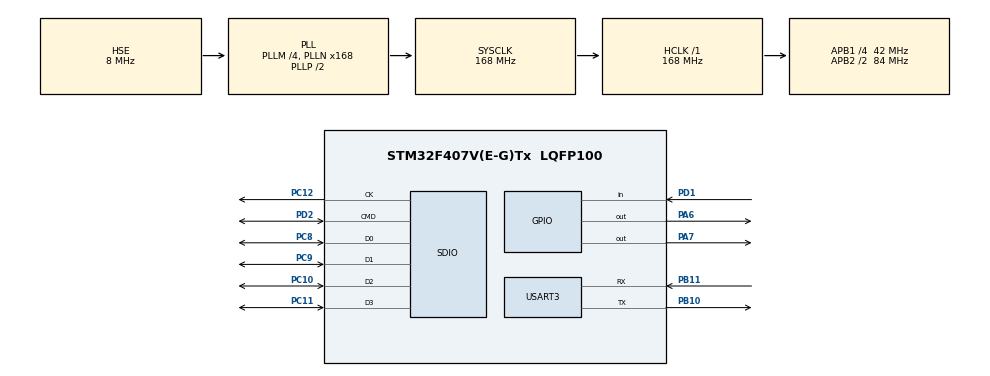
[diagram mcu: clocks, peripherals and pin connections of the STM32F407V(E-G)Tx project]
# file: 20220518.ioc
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Dma.Request0=SDIO_RX
Dma.Request1=SDIO_TX
Dma.SDIO_RX.0.Direction=DMA_PERIPH_TO_MEMORY
Dma.SDIO_RX.0.FIFOMode=DMA_FIFOMODE_ENABLE
Dma.SDIO_RX.0.FIFOThreshold=DMA_FIFO_THRESHOLD_FULL
Dma.SDIO_RX.0.Instance=DMA2_Stream3
Dma.SDIO_RX.0.MemBurst=DMA_MBURST_INC4
Dma.SDIO_RX.0.MemDataAlignment=DMA_MDATAALIGN_WORD
Dma.SDIO_RX.0.MemInc=DMA_MINC_ENABLE
Dma.SDIO_RX.0.Mode=DMA_PFCTRL
Dma.SDIO_RX.0.PeriphBurst=DMA_PBURST_INC4
Dma.SDIO_RX.0.PeriphDataAlignment=DMA_PDATAALIGN_WORD
Dma.SDIO_RX.0.PeriphInc=DMA_PINC_DISABLE
Dma.SDIO_RX.0.Priority=DMA_PRIORITY_LOW
Dma.SDIO_TX.1.Direction=DMA_MEMORY_TO_PERIPH
Dma.SDIO_TX.1.FIFOMode=DMA_FIFOMODE_ENABLE
Dma.SDIO_TX.1.FIFOThreshold=DMA_FIFO_THRESHOLD_FULL
Dma.SDIO_TX.1.Instance=DMA2_Stream6
Dma.SDIO_TX.1.MemBurst=DMA_MBURST_INC4
Dma.SDIO_TX.1.MemDataAlignment=DMA_MDATAALIGN_WORD
Dma.SDIO_TX.1.MemInc=DMA_MINC_ENABLE
Dma.SDIO_TX.1.Mode=DMA_PFCTRL
Dma.SDIO_TX.1.PeriphBurst=DMA_PBURST_INC4
Dma.SDIO_TX.1.PeriphDataAlignment=DMA_PDATAALIGN_WORD
Dma.SDIO_TX.1.PeriphInc=DMA_PINC_DISABLE
Dma.SDIO_TX.1.Priority=DMA_PRIORITY_LOW
FATFS.BSP.number=1
FATFS._LFN_UNICODE=0
FATFS._MAX_SS=4096
FATFS._USE_LFN=2
FATFS0.BSP.STBoard=false
FATFS0.BSP.api=Unknown
FATFS0.BSP.i2caddr=0
FATFS0.BSP.instance=PD1
FATFS0.BSP.ip=GPIO
FATFS0.BSP.mode=Input
FATFS0.BSP.name=Detect_SDIO
FATFS0.BSP.solution=PD1
FREERTOS.Tasks01=defaultTask,24,128,StartDefaultTask,Default,NULL,Dynamic,NULL,NULL
FREERTOS.configLIBRARY_MAX_SYSCALL_INTERRUPT_PRIORITY=2
FREERTOS.configUSE_NEWLIB_REENTRANT=1
Mcu.Family=STM32F4
Mcu.Name=STM32F407V(E-G)Tx
Mcu.Package=LQFP100
NVIC.DMA2_Stream3_IRQn=true\:7\:0\:true\:false\:true\:true\:false\:true\:true
NVIC.DMA2_Stream6_IRQn=true\:7\:0\:true\:false\:true\:true\:false\:true\:true
NVIC.PriorityGroup=NVIC_PRIORITYGROUP_4
NVIC.SDIO_IRQn=true\:2\:0\:false\:false\:true\:true\:true\:true\:true
NVIC.TIM6_DAC_IRQn=true\:15\:0\:false\:false\:true\:false\:false\:true\:true
NVIC.TimeBase=TIM6_DAC_IRQn
NVIC.TimeBaseIP=TIM6
PA13.Mode=Serial_Wire
PA13.Signal=SYS_JTMS-SWDIO
PA14.Mode=Serial_Wire
PA14.Signal=SYS_JTCK-SWCLK
PA6.Signal=GPIO_Output
PA7.Signal=GPIO_Output
PB10.Mode=Asynchronous
PB10.Signal=USART3_TX
PB11.Mode=Asynchronous
PB11.Signal=USART3_RX
PC10.Mode=SD_4_bits_Wide_bus
PC10.Signal=SDIO_D2
PC11.Mode=SD_4_bits_Wide_bus
PC11.Signal=SDIO_D3
PC12.Mode=SD_4_bits_Wide_bus
PC12.Signal=SDIO_CK
PC8.Mode=SD_4_bits_Wide_bus
PC8.Signal=SDIO_D0
PC9.Mode=SD_4_bits_Wide_bus
PC9.Signal=SDIO_D1
PD1.Signal=GPIO_Input
PD2.Mode=SD_4_bits_Wide_bus
PD2.Signal=SDIO_CMD
PH0-OSC_IN.Mode=HSE-External-Oscillator
PH0-OSC_IN.Signal=RCC_OSC_IN
PH1-OSC_OUT.Mode=HSE-External-Oscillator
PH1-OSC_OUT.Signal=RCC_OSC_OUT
ProjectManager.HeapSize=0x200
ProjectManager.StackSize=0x1000
ProjectManager.TargetToolchain=STM32CubeIDE
RCC.48MHZClocksFreq_Value=48000000
RCC.AHBFreq_Value=168000000
RCC.APB1CLKDivider=RCC_HCLK_DIV4
RCC.APB1Freq_Value=42000000
RCC.APB1TimFreq_Value=84000000
RCC.APB2CLKDivider=RCC_HCLK_DIV2
RCC.APB2Freq_Value=84000000
RCC.APB2TimFreq_Value=168000000
RCC.CortexFreq_Value=168000000
RCC.HCLKFreq_Value=168000000
RCC.HSE_VALUE=8000000
RCC.HSI_VALUE=16000000
RCC.LSE_VALUE=32768
RCC.PLLM=4
RCC.PLLN=168
RCC.PLLQ=7
RCC.PLLSourceVirtual=RCC_PLLSOURCE_HSE
RCC.SYSCLKFreq_VALUE=168000000
RCC.SYSCLKSource=RCC_SYSCLKSOURCE_PLLCLK
RCC.VCOOutputFreq_Value=336000000
SDIO.ClockDiv=2
USART3.VirtualMode=VM_ASYNC
VP_FATFS_VS_SDIO.Mode=SDIO
VP_FREERTOS_VS_CMSIS_V2.Mode=CMSIS_V2
VP_SYS_VS_tim6.Mode=TIM6
board=custom

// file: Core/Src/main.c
/* USER CODE BEGIN Header */
/**
  ******************************************************************************
  * @file           : main.c
  * @brief          : Main program body
  ******************************************************************************
  * @attention
  *
  * Copyright (c) 2022 STMicroelectronics.
  * All rights reserved.
  *
  * This software is licensed under terms that can be found in the LICENSE file
  * in the root directory of this software component.
  * If no LICENSE file comes with this software, it is provided AS-IS.
  *
  ******************************************************************************
  */
/* USER CODE END Header */
#include "main.h"
#include "cmsis_os.h"
#include "fatfs.h"

 SD_HandleTypeDef hsd;
DMA_HandleTypeDef hdma_sdio_rx;
DMA_HandleTypeDef hdma_sdio_tx;

UART_HandleTypeDef huart3;

/* Definitions for defaultTask */
osThreadId_t defaultTaskHandle;
const osThreadAttr_t defaultTask_attributes = {
  .name = "defaultTask",
  .stack_size = 128 * 16,
  .priority = (osPriority_t) osPriorityNormal,
};
/* USER CODE BEGIN PV */
/* Private variables ---------------------------------------------------------*/
#include "stdio.h"
#include "retarget.h"
FATFS fs;                 // Work area (file system object) for logical drive
FIL fil;                  // file objects

uint32_t byteswritten;                /* File write counts */
uint32_t bytesread;                   /* File read counts */
uint8_t wtext[] = "This is STM32 working with FatFs\r\n\0"; /* File write buffer */
uint8_t rtext[100];                     /* File read buffers */
char filename[] = "STM32cube.txt";
/* USER CODE END PV */

void SystemClock_Config(void);
static void MX_GPIO_Init(void);
static void MX_DMA_Init(void);
static void MX_SDIO_SD_Init(void);
static void MX_USART3_UART_Init(void);
void StartDefaultTask(void *argument);

/* USER CODE BEGIN 0 */
HAL_SD_CardInfoTypeDef  SDCardInfo;
extern SD_HandleTypeDef hsd;

FATFS fs; // working space
FIL fil; //  Documentation items
void printf_sdcard_info(void)
{

	uint64_t CardCap;      	//SD Card capacity
	HAL_SD_CardCIDTypeDef SDCard_CID;

	HAL_SD_GetCardCID(&hsd,&SDCard_CID);	// obtain CID
	HAL_SD_GetCardInfo(&hsd,&SDCardInfo);                    // obtain SD Card information
	CardCap=(uint64_t)(SDCardInfo.LogBlockNbr)*(uint64_t)(SDCardInfo.LogBlockSize);	// Calculation SD Card capacity
	switch(SDCardInfo.CardType)
	{

		case CARD_SDSC:
		{

			if(SDCardInfo.CardVersion == CARD_V1_X)
				printf("Card Type:SDSC V1\r\n");
			else if(SDCardInfo.CardVersion == CARD_V2_X)
				printf("Card Type:SDSC V2\r\n");
		}
		break;
		case CARD_SDHC_SDXC:printf("Card Type:SDHC\r\n");break;
		default:break;
	}

    printf("Card ManufacturerID: %d \r\n",SDCard_CID.ManufacturerID);				// Manufacturer ID
 	printf("CardVersion: %ld \r\n",(uint32_t)(SDCardInfo.CardVersion));		// Card version number
	printf("Class: %ld \r\n",(uint32_t)(SDCardInfo.Class));		    //
 	printf("Card RCA(RelCardAdd):%ld \r\n",SDCardInfo.RelCardAdd);					// Card relative address
	printf("Card BlockNbr: %ld \r\n",SDCardInfo.BlockNbr);						// Number of pieces
 	printf("Card BlockSize: %ld \r\n",SDCardInfo.BlockSize);					// Block size
	printf("LogBlockNbr: %ld \r\n",(uint32_t)(SDCardInfo.LogBlockNbr));		// Number of logical blocks
	printf("LogBlockSize: %ld \r\n",(uint32_t)(SDCardInfo.LogBlockSize));		// Logical block size
	printf("Card Capacity: %ld MB\r\n",(uint32_t)(CardCap>>20));				// Card capacity
}

void InitFatFas(void)
{

    int retSD = f_mount(&fs, "", 0);
    if(retSD)
    {

        printf("mount error : %d \r\n",retSD);
      // Error_Handler();
    }
    else
    printf("mount sucess!!! \r\n");
}

void creat_file(char * filename)
{

    int retSD = f_open(&fil, filename, FA_CREATE_ALWAYS | FA_WRITE); // Open file , Permissions include creating 、 Write （ If there is no such document , The file will be created ）
    if(retSD==FR_OK) printf("\r\ncreater file sucess!!! \r\n");
    else printf("\r\ncreater file error : %d\r\n",retSD);
   // f_close(&fil); // Close the file
    //HAL_Delay(100);
}
void write_file(char * data,uint32_t len)
{

    uint32_t byteswritten;
    /*##-3- Write data to the text files ###############################*/
    int retSD = f_write(&fil, data, len, (void *)&byteswritten);
    if(retSD)
        printf(" write file error : %d\r\n",retSD);
    else
    {

        printf(" write file sucess!!! \r\n");
        printf(" write Data[%ld] : %s\r\n",byteswritten,data);
    }
    /*##-4- Close the open text files ################################*/
    retSD = f_close(&fil);
    if(retSD)
        printf(" close error : %d\r\n",retSD);
    else
        printf(" close sucess!!! \r\n");
}

/* USER CODE END 0 */

int main(void)
{

  /* MCU Configuration--------------------------------------------------------*/

  /* Reset of all peripherals, Initializes the Flash interface and the Systick. */
  HAL_Init();

  /* Configure the system clock */
  SystemClock_Config();

  /* Initialize all configured peripherals */
  MX_GPIO_Init();
  MX_DMA_Init();
  MX_SDIO_SD_Init();
  MX_FATFS_Init();
  MX_USART3_UART_Init();
  /* USER CODE BEGIN 2 */
  BSP_SD_Init();

  RetargetInit(&huart3);
  /* USER CODE BEGIN 2 */
  /* USER CODE END 2 */

  /* Init scheduler */
  osKernelInitialize();

  /* Create the thread(s) */
  /* creation of defaultTask */
  defaultTaskHandle = osThreadNew(StartDefaultTask, NULL, &defaultTask_attributes);

  /* Start scheduler */
  osKernelStart();

  /* We should never get here as control is now taken by the scheduler */
  /* Infinite loop */
  while (1)
  {

  }
}

void SystemClock_Config(void)
{
  RCC_OscInitTypeDef RCC_OscInitStruct = {0};
  RCC_ClkInitTypeDef RCC_ClkInitStruct = {0};

  /** Configure the main internal regulator output voltage
  */
  __HAL_RCC_PWR_CLK_ENABLE();
  __HAL_PWR_VOLTAGESCALING_CONFIG(PWR_REGULATOR_VOLTAGE_SCALE1);

  /** Initializes the RCC Oscillators according to the specified parameters
  * in the RCC_OscInitTypeDef structure.
  */
  RCC_OscInitStruct.OscillatorType = RCC_OSCILLATORTYPE_HSE;
  RCC_OscInitStruct.HSEState = RCC_HSE_ON;
  RCC_OscInitStruct.PLL.PLLState = RCC_PLL_ON;
  RCC_OscInitStruct.PLL.PLLSource = RCC_PLLSOURCE_HSE;
  RCC_OscInitStruct.PLL.PLLM = 4;
  RCC_OscInitStruct.PLL.PLLN = 168;
  RCC_OscInitStruct.PLL.PLLP = RCC_PLLP_DIV2;
  RCC_OscInitStruct.PLL.PLLQ = 7;
  if (HAL_RCC_OscConfig(&RCC_OscInitStruct) != HAL_OK)
  {
    Error_Handler();
  }

  /** Initializes the CPU, AHB and APB buses clocks
  */
  RCC_ClkInitStruct.ClockType = RCC_CLOCKTYPE_HCLK|RCC_CLOCKTYPE_SYSCLK
                              |RCC_CLOCKTYPE_PCLK1|RCC_CLOCKTYPE_PCLK2;
  RCC_ClkInitStruct.SYSCLKSource = RCC_SYSCLKSOURCE_PLLCLK;
  RCC_ClkInitStruct.AHBCLKDivider = RCC_SYSCLK_DIV1;
  RCC_ClkInitStruct.APB1CLKDivider = RCC_HCLK_DIV4;
  RCC_ClkInitStruct.APB2CLKDivider = RCC_HCLK_DIV2;

  if (HAL_RCC_ClockConfig(&RCC_ClkInitStruct, FLASH_LATENCY_5) != HAL_OK)
  {
    Error_Handler();
  }
}

static void MX_SDIO_SD_Init(void)
{

  hsd.Instance = SDIO;
  hsd.Init.ClockEdge = SDIO_CLOCK_EDGE_RISING;
  hsd.Init.ClockBypass = SDIO_CLOCK_BYPASS_DISABLE;
  hsd.Init.ClockPowerSave = SDIO_CLOCK_POWER_SAVE_DISABLE;
  hsd.Init.BusWide = SDIO_BUS_WIDE_1B;
  hsd.Init.HardwareFlowControl = SDIO_HARDWARE_FLOW_CONTROL_DISABLE;
  hsd.Init.ClockDiv = 2;

}

static void MX_USART3_UART_Init(void)
{

  huart3.Instance = USART3;
  huart3.Init.BaudRate = 115200;
  huart3.Init.WordLength = UART_WORDLENGTH_8B;
  huart3.Init.StopBits = UART_STOPBITS_1;
  huart3.Init.Parity = UART_PARITY_NONE;
  huart3.Init.Mode = UART_MODE_TX_RX;
  huart3.Init.HwFlowCtl = UART_HWCONTROL_NONE;
  huart3.Init.OverSampling = UART_OVERSAMPLING_16;
  if (HAL_UART_Init(&huart3) != HAL_OK)
  {
    Error_Handler();
  }

}

static void MX_DMA_Init(void)
{

  /* DMA controller clock enable */
  __HAL_RCC_DMA2_CLK_ENABLE();

  /* DMA interrupt init */
  /* DMA2_Stream3_IRQn interrupt configuration */
  HAL_NVIC_SetPriority(DMA2_Stream3_IRQn, 7, 0);
  HAL_NVIC_EnableIRQ(DMA2_Stream3_IRQn);
  /* DMA2_Stream6_IRQn interrupt configuration */
  HAL_NVIC_SetPriority(DMA2_Stream6_IRQn, 7, 0);
  HAL_NVIC_EnableIRQ(DMA2_Stream6_IRQn);

}

static void MX_GPIO_Init(void)
{
  GPIO_InitTypeDef GPIO_InitStruct = {0};

  /* GPIO Ports Clock Enable */
  __HAL_RCC_GPIOH_CLK_ENABLE();
  __HAL_RCC_GPIOA_CLK_ENABLE();
  __HAL_RCC_GPIOB_CLK_ENABLE();
  __HAL_RCC_GPIOC_CLK_ENABLE();
  __HAL_RCC_GPIOD_CLK_ENABLE();

  /*Configure GPIO pin Output Level */
  HAL_GPIO_WritePin(GPIOA, GPIO_PIN_6|GPIO_PIN_7, GPIO_PIN_RESET);

  /*Configure GPIO pins : PA6 PA7 */
  GPIO_InitStruct.Pin = GPIO_PIN_6|GPIO_PIN_7;
  GPIO_InitStruct.Mode = GPIO_MODE_OUTPUT_PP;
  GPIO_InitStruct.Pull = GPIO_NOPULL;
  GPIO_InitStruct.Speed = GPIO_SPEED_FREQ_LOW;
  HAL_GPIO_Init(GPIOA, &GPIO_InitStruct);

  /*Configure GPIO pin : PD1 */
  GPIO_InitStruct.Pin = GPIO_PIN_1;
  GPIO_InitStruct.Mode = GPIO_MODE_INPUT;
  GPIO_InitStruct.Pull = GPIO_NOPULL;
  HAL_GPIO_Init(GPIOD, &GPIO_InitStruct);

}

void StartDefaultTask(void *argument)
{
  /* USER CODE BEGIN 5 */
	/* Infinite loop */
	printf("\r\n ****** FatFs Example ******\r\n\r\n");
	printf_sdcard_info();

    /*##-1- Register the file system object to the FatFs module ##############*/
    retSD = f_mount(&fs, "/", 1);
    if(retSD)
    {
        printf(" mount error : %d \r\n",retSD);
        Error_Handler();
    }
    else{
  	  printf(" mount sucess!!! \r\n");
  	  //osDelay(100);
  	  //##-2- Create and Open new text file objects with write access ######
  	  retSD = f_open(&fil, filename, FA_CREATE_ALWAYS | FA_WRITE);
  	  if(retSD)
  		  printf(" open file error : %d\r\n",retSD);
  	  else{
  		  printf(" open file sucess!!! \r\n");
  		  //##-3- Write data to the text files ###############################
  		  retSD = f_write(&fil, wtext, strlen(wtext), (void *)&byteswritten);
  		  printf(" byteswritten: %d \r\n", byteswritten);
  		  if(retSD)
  			  printf(" write file error : %d\r\n",retSD);
  		  else
  		  {
  			  printf(" write file sucess!!! \r\n");
  			  printf(" write Data : %s\r\n",wtext);
  		  }
  		  //##-4- Close the open text files ################################
  		  retSD = f_close(&fil);
  		  if(retSD)
  			  printf(" close error : %d\r\n",retSD);
  		  else
  			  printf(" close sucess!!! \r\n");
  	  }

  	  //##-5- Open the text files object with read access ##############
  	  retSD = f_open(&fil, filename, FA_READ);
  	  if(retSD)
  		  printf(" open file error : %d\r\n",retSD);
  	  else{
  		  printf(" open file sucess!!! \r\n");
  		  //##-6- Read data from the text files ##########################
  		  retSD = f_read(&fil, rtext, sizeof(rtext), (UINT*)&bytesread);
  		  if(retSD)
  			  printf(" read error!!! %d\r\n",retSD);
  		  else
  		  {
  			  printf(" read sucess!!! \r\n");
  			  printf(" read Data : %s\r\n",rtext);
  		  }
  		  //##-7- Close the open text files ############################
  		  retSD = f_close(&fil);
  		  if(retSD)
  			  printf(" close error!!! %d\r\n",retSD);
  		  else
  			  printf(" close sucess!!! \r\n");
  	  }
  	  //##-8- Compare read data with the expected data ############
  	  if(bytesread == byteswritten)
  	  {
  		  printf(" FatFs is working well!!!\r\n");
  	  }
  	  retSD = f_mount(NULL, "/", 1);
  	  if (retSD == FR_OK) printf ("SD CARD UNMOUNTED successfully...\n\n\n");
  	  else printf("ERROR!!! in UNMOUNTING SD CARD\n\n\n");
    }
  for(;;)
  {
	  //HAL_UART_Transmit(&huart3, "#######\r\n", 9, 10);
	  HAL_GPIO_TogglePin(GPIOA, GPIO_PIN_7);
	  osDelay(100);
  }
  /* USER CODE END 5 */
}

void HAL_TIM_PeriodElapsedCallback(TIM_HandleTypeDef *htim)
{
  if (htim->Instance == TIM6) {
    HAL_IncTick();
  }
}

void Error_Handler(void)
{
  __disable_irq();
  while (1)
  {
  }
}
